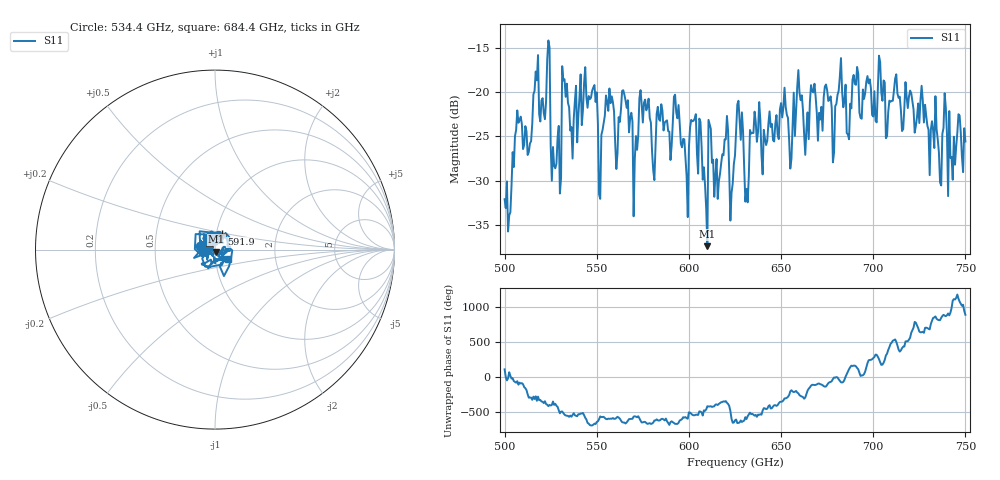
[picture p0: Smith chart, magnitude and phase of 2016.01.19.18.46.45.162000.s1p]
!Created with skrf (http://scikit-rf.org).
# GHz S RI R 50.0
!freq ReS11 ImS11
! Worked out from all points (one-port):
!   401 points, 500 GHz to 750 GHz, reference 50 ohm
!   lowest |S11| = -37.4 dB at 610 GHz (marker M1), VSWR 1.03, Z = 50.8 - j1.11 ohm
!   |S11| at or under -10 dB: start of sweep to end of sweep
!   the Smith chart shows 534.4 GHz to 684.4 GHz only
!   S11 on the Smith chart (normalised r, x): 534.4 GHz: 0.84, +0.03; 591.9 GHz: 1.06, +0.19; 684.4 GHz: 1.15, -0.12
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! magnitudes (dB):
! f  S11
! 500 GHz  -32.1
! 507.5 GHz  -23.5
! 513.8 GHz  -25.8
! 516.9 GHz  -17.7
! 523.8 GHz  -14.2
! 526.9 GHz  -28.3
! 531.2 GHz  -17.1
! 534.4 GHz  -21.2
! 548.8 GHz  -19.2
! 551.9 GHz  -32.1
! 562.5 GHz  -23.4
! 571.2 GHz  -25.0
! 574.4 GHz  -21.4
! 580.6 GHz  -28.8
! 591.9 GHz  -20.5
! 593.8 GHz  -23.0
! 610 GHz  -37.4
! 625 GHz  -27.2
! 627.5 GHz  -23.2
! 631.2 GHz  -31.0
! 636.9 GHz  -25.6
! 656.2 GHz  -23.8
! 660 GHz  -20.1
! 663.8 GHz  -24.2
! 684.4 GHz  -21.0
! 687.5 GHz  -21.3
! 718.8 GHz  -21.8
! 750 GHz  -25.6
